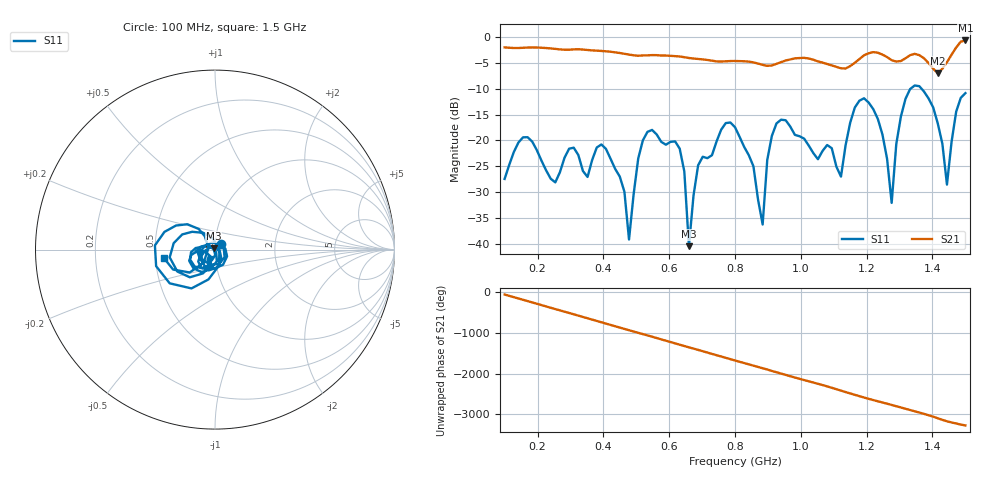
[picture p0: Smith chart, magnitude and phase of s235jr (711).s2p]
! NanoVNA-App
! Date: 2025-09-25 15:09:42
! Start: 100MHz Stop: 1,5GHz Points: 101
! S-Parameter data: F S11 S21 S12 S22
# Hz S RI R 50
!  Frequency  S11_Real  S11_Imag  S21_Real  S21_Imag  S12_Real  S12_Imag  S22_Real  S22_Imag
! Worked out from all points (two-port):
!   101 points, 100 MHz to 1.5 GHz, reference 50 ohm
!   highest |S21| = -0.62 dB at 1.5 GHz (marker M1); lowest = -7.0 dB at 1.416 GHz (marker M2)
!   |S21| within 3 dB of the highest: start of sweep to 608.7 MHz; 1.19 GHz to 1.255 GHz (65.88 MHz wide, 5.39 % of centre) (the widest 2 of 4)
!   lowest |S11| = -40.5 dB at 660 MHz (marker M3), VSWR 1.02, Z = 49.3 + j0.607 ohm
!   |S11| at or under -10 dB: start of sweep to 1.333 GHz; 1.367 GHz to end of sweep
!   S12 and S22 are empty: the file has one direction only
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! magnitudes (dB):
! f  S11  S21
! 100 MHz  -27.5  -2.0
! 156 MHz  -19.4  -2.0
! 338 MHz  -25.9  -2.4
! 408 MHz  -21.6  -2.7
! 478 MHz  -39.2  -3.4
! 520 MHz  -20.0  -3.5
! 576 MHz  -20.3  -3.5
! 632 MHz  -21.6  -3.7
! 660 MHz  -40.5  -4.0
! 688 MHz  -24.8  -4.2
! 800 MHz  -17.4  -4.6
! 884 MHz  -36.3  -5.4
! 926 MHz  -16.7  -5.2
! 1.038 GHz  -22.5  -4.4
! 1.122 GHz  -27.0  -6.0
! 1.192 GHz  -11.8  -3.5
! 1.248 GHz  -18.9  -3.4
! 1.276 GHz  -32.1  -4.5
! 1.332 GHz  -10.0  -3.5
! 1.416 GHz  -16.7  -7.0
! 1.444 GHz  -28.6  -4.8
! 1.5 GHz  -10.8  -0.6
